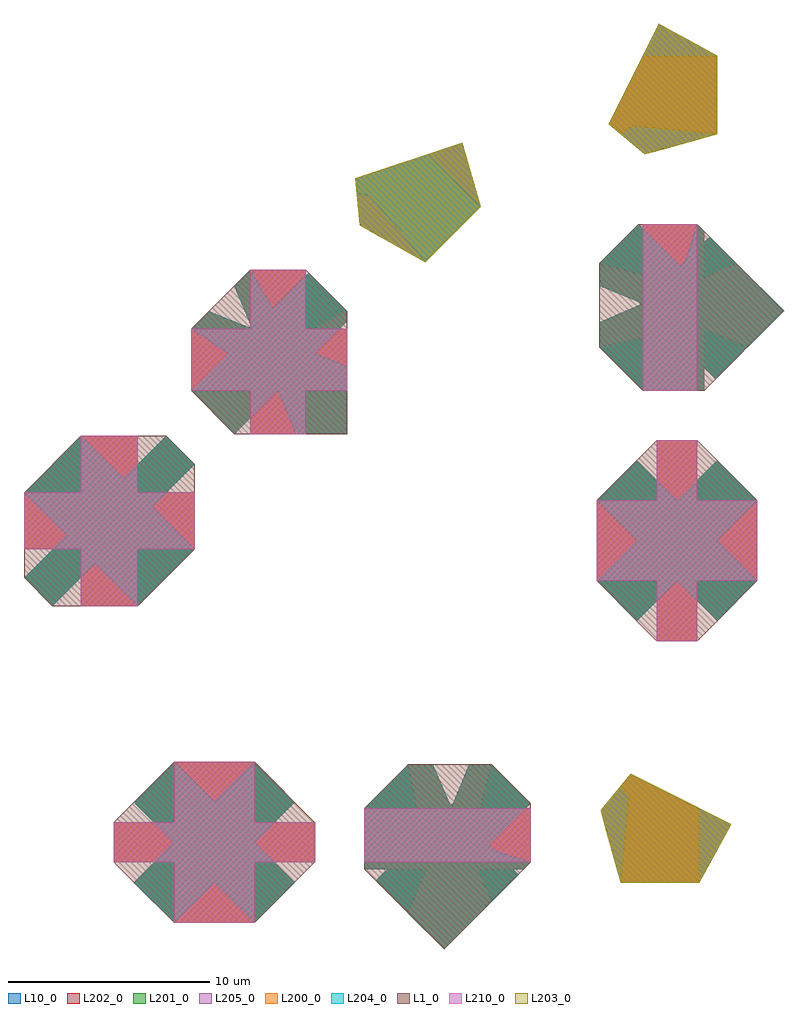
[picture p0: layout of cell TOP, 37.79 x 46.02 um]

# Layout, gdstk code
import gdstk
lib = gdstk.Library(unit=1e-6, precision=1e-09)
def R(c, l, rs):  # rectangles x0, y0, x1, y1
    for r in rs: c.add(gdstk.rectangle(r[:2], r[2:], *l))
def P(c, l, *ps):  # polygons
    for p in ps: c.add(gdstk.Polygon(p, *l))
L1_0 = (1, 0)
L10_0 = (10, 0)
L100_0 = (100, 0)
L101_0 = (101, 0)
L102_0 = (102, 0)
L103_0 = (103, 0)
L104_0 = (104, 0)
L105_0 = (105, 0)
L200_0 = (200, 0)
L201_0 = (201, 0)
L202_0 = (202, 0)
L203_0 = (203, 0)
L204_0 = (204, 0)
L205_0 = (205, 0)
L210_0 = (210, 0)

top = lib.new_cell('TOP')
P(top, L1_0, [(3,0),(0,3),(0,5),(3,8),(7,8),(10,5),(10,3),(7,0)],
  [(16.419,-1.319),(12.45,2.65),(12.45,5.7),(14.625,7.875),(18.8,7.875),(20.738,5.937),(20.738,3)],
  [(25.2,2),(24.2,5.6),(25.7,7.4),(30.7,4.9),(29.1,2)],
  [(-3.054,15.735),(-4.468,17.149),(-4.468,21.392),(-1.64,24.22),(2.603,24.22),(4.017,22.806),(4.017,18.563),(1.189,15.735)],
  [(5.997,24.291),(3.84,26.448),(3.84,29.524),(6.792,32.476),(9.533,32.476),(11.61,30.399),(11.61,24.291)],
  [(15.472,32.847),(12.22,34.685),(12.007,37.019),(17.311,38.787),(18.23,35.605)],
  [(27,14),(24,17),(24,21),(27,24),(29,24),(32,21),(32,17),(29,14)],
  [(26.3,26.45),(24.125,28.625),(24.125,32.8),(26.063,34.738),(29,34.738),(33.319,30.419),(29.35,26.45)],
  [(26.4,38.2),(24.6,39.7),(27.1,44.7),(30,43.1),(30,39.2)])
R(top, L10_0, [(2.999,-0.001,7.001,8.001), (-0.001,2.999,10.001,5.001), (12.449,2.999,20.739,5.701), (26.999,13.999,29.001,24.001), (-1.641,15.734,1.19,24.221), (23.999,16.999,32.001,21.001), (-4.469,18.562,4.018,21.393), (6.791,24.29,9.534,32.477), (3.839,26.447,11.611,29.525), (26.299,26.449,29.001,34.739)])
P(top, L10_0, [(25.199,1.999),(24.413,4.83),(27.479,6.512),(30.701,4.9)],
  [(29.806,3.278),(24.493,4.54),(24.199,5.601),(30.701,4.9)],
  [(29.1,1.999),(24.199,5.6),(25.7,7.401),(30.071,3.758)],
  [(28.519,1.999),(25.199,6.8),(25.7,7.401),(29.101,1.999)],
  [(29.1,1.999),(25.7,7.401),(30.701,4.9)],
  [(25.199,1.999),(25.7,7.401),(29.101,5.7),(29.101,1.999)],
  [(16.419,-1.32),(14.624,0.475),(17.674,7.876),(18.801,7.876)],
  [(14.95,0.149),(13.011,2.088),(18.8,7.876),(20.739,5.937)],
  [(12.449,2.649),(12.449,5.701),(20.739,3),(20.388,2.649)],
  [(17.944,0.205),(12.449,5.7),(14.625,7.876),(20.12,2.381)],
  [(16.419,-1.32),(14.624,7.876),(15.864,7.876),(18.801,1.062)],
  [(3,-0.001),(0.999,2),(7,8.001),(9.001,6)],
  [(7,-0.001),(0.999,6),(3,8.001),(9.001,2)],
  [(26,14.999),(23.999,17),(30,23.001),(32.001,21)],
  [(30,14.999),(23.999,21),(26,23.001),(32.001,17)],
  [(-3.054,15.734),(-4.469,17.149),(2.603,24.221),(4.018,22.806)],
  [(1.189,15.734),(-4.469,21.392),(-1.64,24.221),(4.018,18.563)],
  [(5.75,24.537),(3.839,26.448),(9.7,32.31),(11.611,30.399)],
  [(5.997,24.29),(3.839,26.448),(11.611,30.4),(11.611,29.903)],
  [(11.611,24.29),(3.839,29.524),(4.715,30.4),(11.611,27.659)],
  [(9.072,24.29),(5.996,31.681),(6.792,32.477),(11.611,24.29)],
  [(26.3,26.449),(24.124,28.625),(29.619,34.12),(31.795,31.944)],
  [(24.124,28.624),(24.124,29.864),(30.938,32.801),(33.32,30.419)],
  [(31.525,28.624),(24.124,31.674),(24.124,32.801),(33.32,30.419)],
  [(29.912,27.011),(24.124,32.8),(26.063,34.739),(31.851,28.95)],
  [(26.299,26.449),(29,34.739),(29.351,34.388),(29.351,26.449)],
  [(15.472,32.846),(12.915,34.292),(13.894,37.649),(17.312,38.788)],
  [(13.175,34.144),(12.219,34.685),(17.312,38.788),(17.825,37.008)],
  [(12.219,34.684),(12.006,37.02),(17.673,37.537),(18.231,35.604)],
  [(17.821,35.195),(12.077,36.24),(12.006,37.02),(18.231,35.605)],
  [(18.231,35.604),(12.006,37.02),(17.312,38.788)],
  [(15.472,32.846),(12.006,37.02),(15.615,38.222),(18.231,35.605)],
  [(26.4,38.199),(24.599,39.7),(28.242,44.071),(30.001,43.1)],
  [(25.2,39.199),(24.599,39.7),(30.001,43.101),(30.001,42.519)],
  [(24.599,39.7),(27.1,44.701),(30.001,43.1)],
  [(30.001,39.199),(24.599,39.7),(26.3,43.101),(30.001,43.101)],
  [(27.17,38.413),(25.488,41.479),(27.1,44.701),(30.001,39.199)],
  [(26.399,38.199),(27.1,44.701),(28.722,43.806),(27.46,38.493)])
R(top, L200_0, [(2.999,-0.001,7.001,8.001), (-0.001,2.999,10.001,5.001), (12.449,2.999,20.739,5.701), (26.999,13.999,29.001,24.001), (-1.641,15.734,1.19,24.221), (23.999,16.999,32.001,21.001), (-4.469,18.562,4.018,21.393), (6.791,24.29,9.534,32.477), (3.839,26.447,11.611,29.525), (26.299,26.449,29.001,34.739)])
P(top, L200_0, [(28.519,1.999),(25.199,6.8),(25.7,7.401),(29.101,1.999)],
  [(25.199,1.999),(25.7,7.401),(29.101,5.7),(29.101,1.999)],
  [(16.419,-1.32),(14.624,0.475),(17.674,7.876),(18.801,7.876)],
  [(12.449,2.649),(12.449,5.701),(20.739,3),(20.388,2.649)],
  [(16.419,-1.32),(14.624,7.876),(15.864,7.876),(18.801,1.062)],
  [(5.997,24.29),(3.839,26.448),(11.611,30.4),(11.611,29.903)],
  [(11.611,24.29),(3.839,29.524),(4.715,30.4),(11.611,27.659)],
  [(9.072,24.29),(5.996,31.681),(6.792,32.477),(11.611,24.29)],
  [(24.124,28.624),(24.124,29.864),(30.938,32.801),(33.32,30.419)],
  [(31.525,28.624),(24.124,31.674),(24.124,32.801),(33.32,30.419)],
  [(26.299,26.449),(29,34.739),(29.351,34.388),(29.351,26.449)],
  [(25.2,39.199),(24.599,39.7),(30.001,43.101),(30.001,42.519)],
  [(30.001,39.199),(24.599,39.7),(26.3,43.101),(30.001,43.101)])
P(top, L201_0, [(25.199,1.999),(24.413,4.83),(27.479,6.512),(30.701,4.9)],
  [(29.806,3.278),(24.493,4.54),(24.199,5.601),(30.701,4.9)],
  [(29.1,1.999),(24.199,5.6),(25.7,7.401),(30.071,3.758)],
  [(28.519,1.999),(25.199,6.8),(25.7,7.401),(29.101,1.999)],
  [(29.1,1.999),(25.7,7.401),(30.701,4.9)],
  [(25.199,1.999),(25.7,7.401),(29.101,5.7),(29.101,1.999)],
  [(16.419,-1.32),(14.624,0.475),(17.674,7.876),(18.801,7.876)],
  [(14.95,0.149),(13.011,2.088),(18.8,7.876),(20.739,5.937)],
  [(12.449,2.649),(12.449,5.701),(20.739,3),(20.388,2.649)],
  [(17.944,0.205),(12.449,5.7),(14.625,7.876),(20.12,2.381)],
  [(16.419,-1.32),(14.624,7.876),(15.864,7.876),(18.801,1.062)],
  [(3,-0.001),(0.999,2),(7,8.001),(9.001,6)],
  [(7,-0.001),(0.999,6),(3,8.001),(9.001,2)],
  [(26,14.999),(23.999,17),(30,23.001),(32.001,21)],
  [(30,14.999),(23.999,21),(26,23.001),(32.001,17)],
  [(-3.054,15.734),(-4.469,17.149),(2.603,24.221),(4.018,22.806)],
  [(1.189,15.734),(-4.469,21.392),(-1.64,24.221),(4.018,18.563)],
  [(5.75,24.537),(3.839,26.448),(9.7,32.31),(11.611,30.399)],
  [(5.997,24.29),(3.839,26.448),(11.611,30.4),(11.611,29.903)],
  [(11.611,24.29),(3.839,29.524),(4.715,30.4),(11.611,27.659)],
  [(9.072,24.29),(5.996,31.681),(6.792,32.477),(11.611,24.29)],
  [(26.3,26.449),(24.124,28.625),(29.619,34.12),(31.795,31.944)],
  [(24.124,28.624),(24.124,29.864),(30.938,32.801),(33.32,30.419)],
  [(31.525,28.624),(24.124,31.674),(24.124,32.801),(33.32,30.419)],
  [(29.912,27.011),(24.124,32.8),(26.063,34.739),(31.851,28.95)],
  [(26.299,26.449),(29,34.739),(29.351,34.388),(29.351,26.449)],
  [(15.472,32.846),(12.915,34.292),(13.894,37.649),(17.312,38.788)],
  [(13.175,34.144),(12.219,34.685),(17.312,38.788),(17.825,37.008)],
  [(12.219,34.684),(12.006,37.02),(17.673,37.537),(18.231,35.604)],
  [(17.821,35.195),(12.077,36.24),(12.006,37.02),(18.231,35.605)],
  [(18.231,35.604),(12.006,37.02),(17.312,38.788)],
  [(15.472,32.846),(12.006,37.02),(15.615,38.222),(18.231,35.605)],
  [(26.4,38.199),(24.599,39.7),(28.242,44.071),(30.001,43.1)],
  [(25.2,39.199),(24.599,39.7),(30.001,43.101),(30.001,42.519)],
  [(24.599,39.7),(27.1,44.701),(30.001,43.1)],
  [(30.001,39.199),(24.599,39.7),(26.3,43.101),(30.001,43.101)],
  [(27.17,38.413),(25.488,41.479),(27.1,44.701),(30.001,39.199)],
  [(26.399,38.199),(27.1,44.701),(28.722,43.806),(27.46,38.493)])
R(top, L202_0, [(2.999,-0.001,7.001,8.001), (-0.001,2.999,10.001,5.001), (12.449,2.999,20.739,5.701), (26.999,13.999,29.001,24.001), (-1.641,15.734,1.19,24.221), (23.999,16.999,32.001,21.001), (-4.469,18.562,4.018,21.393), (6.791,24.29,9.534,32.477), (3.839,26.447,11.611,29.525), (26.299,26.449,29.001,34.739)])
P(top, L202_0, [(28.519,1.999),(25.199,6.8),(25.7,7.401),(29.101,1.999)],
  [(25.199,1.999),(25.7,7.401),(29.101,5.7),(29.101,1.999)],
  [(16.419,-1.32),(14.624,0.475),(17.674,7.876),(18.801,7.876)],
  [(14.95,0.149),(13.011,2.088),(18.8,7.876),(20.739,5.937)],
  [(12.449,2.649),(12.449,5.701),(20.739,3),(20.388,2.649)],
  [(17.944,0.205),(12.449,5.7),(14.625,7.876),(20.12,2.381)],
  [(16.419,-1.32),(14.624,7.876),(15.864,7.876),(18.801,1.062)],
  [(3,-0.001),(0.999,2),(7,8.001),(9.001,6)],
  [(7,-0.001),(0.999,6),(3,8.001),(9.001,2)],
  [(26,14.999),(23.999,17),(30,23.001),(32.001,21)],
  [(30,14.999),(23.999,21),(26,23.001),(32.001,17)],
  [(-3.054,15.734),(-4.469,17.149),(2.603,24.221),(4.018,22.806)],
  [(1.189,15.734),(-4.469,21.392),(-1.64,24.221),(4.018,18.563)],
  [(5.75,24.537),(3.839,26.448),(9.7,32.31),(11.611,30.399)],
  [(5.997,24.29),(3.839,26.448),(11.611,30.4),(11.611,29.903)],
  [(11.611,24.29),(3.839,29.524),(4.715,30.4),(11.611,27.659)],
  [(9.072,24.29),(5.996,31.681),(6.792,32.477),(11.611,24.29)],
  [(26.3,26.449),(24.124,28.625),(29.619,34.12),(31.795,31.944)],
  [(24.124,28.624),(24.124,29.864),(30.938,32.801),(33.32,30.419)],
  [(31.525,28.624),(24.124,31.674),(24.124,32.801),(33.32,30.419)],
  [(29.912,27.011),(24.124,32.8),(26.063,34.739),(31.851,28.95)],
  [(26.299,26.449),(29,34.739),(29.351,34.388),(29.351,26.449)],
  [(17.821,35.195),(12.077,36.24),(12.006,37.02),(18.231,35.605)],
  [(15.472,32.846),(12.006,37.02),(15.615,38.222),(18.231,35.605)],
  [(25.2,39.199),(24.599,39.7),(30.001,43.101),(30.001,42.519)],
  [(30.001,39.199),(24.599,39.7),(26.3,43.101),(30.001,43.101)])
P(top, L203_0, [(25.199,1.999),(24.413,4.83),(27.479,6.512),(30.701,4.9)],
  [(29.806,3.278),(24.493,4.54),(24.199,5.601),(30.701,4.9)],
  [(29.1,1.999),(24.199,5.6),(25.7,7.401),(30.071,3.758)],
  [(28.519,1.999),(25.199,6.8),(25.7,7.401),(29.101,1.999)],
  [(29.1,1.999),(25.7,7.401),(30.701,4.9)],
  [(25.199,1.999),(25.7,7.401),(29.101,5.7),(29.101,1.999)],
  [(15.472,32.846),(12.915,34.292),(13.894,37.649),(17.312,38.788)],
  [(13.175,34.144),(12.219,34.685),(17.312,38.788),(17.825,37.008)],
  [(12.219,34.684),(12.006,37.02),(17.673,37.537),(18.231,35.604)],
  [(17.821,35.195),(12.077,36.24),(12.006,37.02),(18.231,35.605)],
  [(18.231,35.604),(12.006,37.02),(17.312,38.788)],
  [(15.472,32.846),(12.006,37.02),(15.615,38.222),(18.231,35.605)],
  [(26.4,38.199),(24.599,39.7),(28.242,44.071),(30.001,43.1)],
  [(25.2,39.199),(24.599,39.7),(30.001,43.101),(30.001,42.519)],
  [(24.599,39.7),(27.1,44.701),(30.001,43.1)],
  [(30.001,39.199),(24.599,39.7),(26.3,43.101),(30.001,43.101)],
  [(27.17,38.413),(25.488,41.479),(27.1,44.701),(30.001,39.199)],
  [(26.399,38.199),(27.1,44.701),(28.722,43.806),(27.46,38.493)])
P(top, L204_0, [(16.419,-1.32),(14.624,0.475),(17.674,7.876),(18.801,7.876)],
  [(14.95,0.149),(13.011,2.088),(18.8,7.876),(20.739,5.937)],
  [(12.449,2.649),(12.449,5.701),(20.739,3),(20.388,2.649)],
  [(17.944,0.205),(12.449,5.7),(14.625,7.876),(20.12,2.381)],
  [(16.419,-1.32),(14.624,7.876),(15.864,7.876),(18.801,1.062)],
  [(3,-0.001),(0.999,2),(7,8.001),(9.001,6)],
  [(7,-0.001),(0.999,6),(3,8.001),(9.001,2)],
  [(26,14.999),(23.999,17),(30,23.001),(32.001,21)],
  [(30,14.999),(23.999,21),(26,23.001),(32.001,17)],
  [(-3.054,15.734),(-4.469,17.149),(2.603,24.221),(4.018,22.806)],
  [(1.189,15.734),(-4.469,21.392),(-1.64,24.221),(4.018,18.563)],
  [(5.75,24.537),(3.839,26.448),(9.7,32.31),(11.611,30.399)],
  [(5.997,24.29),(3.839,26.448),(11.611,30.4),(11.611,29.903)],
  [(11.611,24.29),(3.839,29.524),(4.715,30.4),(11.611,27.659)],
  [(9.072,24.29),(5.996,31.681),(6.792,32.477),(11.611,24.29)],
  [(26.3,26.449),(24.124,28.625),(29.619,34.12),(31.795,31.944)],
  [(24.124,28.624),(24.124,29.864),(30.938,32.801),(33.32,30.419)],
  [(31.525,28.624),(24.124,31.674),(24.124,32.801),(33.32,30.419)],
  [(29.912,27.011),(24.124,32.8),(26.063,34.739),(31.851,28.95)],
  [(26.299,26.449),(29,34.739),(29.351,34.388),(29.351,26.449)],
  [(17.821,35.195),(12.077,36.24),(12.006,37.02),(18.231,35.605)],
  [(15.472,32.846),(12.006,37.02),(15.615,38.222),(18.231,35.605)])
R(top, L205_0, [(2.999,-0.001,7.001,8.001), (-0.001,2.999,10.001,5.001), (12.449,2.999,20.739,5.701), (26.999,13.999,29.001,24.001), (-1.641,15.734,1.19,24.221), (23.999,16.999,32.001,21.001), (-4.469,18.562,4.018,21.393), (6.791,24.29,9.534,32.477), (3.839,26.447,11.611,29.525), (26.299,26.449,29.001,34.739)])
P(top, L205_0, [(25.199,1.999),(24.413,4.83),(27.479,6.512),(30.701,4.9)],
  [(29.806,3.278),(24.493,4.54),(24.199,5.601),(30.701,4.9)],
  [(29.1,1.999),(24.199,5.6),(25.7,7.401),(30.071,3.758)],
  [(28.519,1.999),(25.199,6.8),(25.7,7.401),(29.101,1.999)],
  [(29.1,1.999),(25.7,7.401),(30.701,4.9)],
  [(25.199,1.999),(25.7,7.401),(29.101,5.7),(29.101,1.999)],
  [(16.419,-1.32),(14.624,0.475),(17.674,7.876),(18.801,7.876)],
  [(12.449,2.649),(12.449,5.701),(20.739,3),(20.388,2.649)],
  [(16.419,-1.32),(14.624,7.876),(15.864,7.876),(18.801,1.062)],
  [(5.997,24.29),(3.839,26.448),(11.611,30.4),(11.611,29.903)],
  [(11.611,24.29),(3.839,29.524),(4.715,30.4),(11.611,27.659)],
  [(9.072,24.29),(5.996,31.681),(6.792,32.477),(11.611,24.29)],
  [(24.124,28.624),(24.124,29.864),(30.938,32.801),(33.32,30.419)],
  [(31.525,28.624),(24.124,31.674),(24.124,32.801),(33.32,30.419)],
  [(26.299,26.449),(29,34.739),(29.351,34.388),(29.351,26.449)],
  [(15.472,32.846),(12.915,34.292),(13.894,37.649),(17.312,38.788)],
  [(13.175,34.144),(12.219,34.685),(17.312,38.788),(17.825,37.008)],
  [(12.219,34.684),(12.006,37.02),(17.673,37.537),(18.231,35.604)],
  [(17.821,35.195),(12.077,36.24),(12.006,37.02),(18.231,35.605)],
  [(18.231,35.604),(12.006,37.02),(17.312,38.788)],
  [(15.472,32.846),(12.006,37.02),(15.615,38.222),(18.231,35.605)],
  [(26.4,38.199),(24.599,39.7),(28.242,44.071),(30.001,43.1)],
  [(25.2,39.199),(24.599,39.7),(30.001,43.101),(30.001,42.519)],
  [(24.599,39.7),(27.1,44.701),(30.001,43.1)],
  [(30.001,39.199),(24.599,39.7),(26.3,43.101),(30.001,43.101)],
  [(27.17,38.413),(25.488,41.479),(27.1,44.701),(30.001,39.199)],
  [(26.399,38.199),(27.1,44.701),(28.722,43.806),(27.46,38.493)])
R(top, L210_0, [(2.999,-0.001,7.001,8.001), (-0.001,2.999,10.001,5.001), (12.449,2.999,20.739,5.701), (26.999,13.999,29.001,24.001), (-1.641,15.734,1.19,24.221), (23.999,16.999,32.001,21.001), (-4.469,18.562,4.018,21.393), (6.791,24.29,9.534,32.477), (3.839,26.447,11.611,29.525), (26.299,26.449,29.001,34.739)])
top.add(gdstk.FlexPath([(29.1,2),(25.2,2)], 0, ends="flush", simple_path=True, layer=100, datatype=0))  # L100_0
top.add(gdstk.FlexPath([(12.45,2.65),(12.45,5.7)], 0, ends="flush", simple_path=True, layer=100, datatype=0))  # L100_0
top.add(gdstk.FlexPath([(14.625,7.875),(18.8,7.875)], 0, ends="flush", simple_path=True, layer=100, datatype=0))  # L100_0
top.add(gdstk.FlexPath([(20.738,5.937),(20.738,3)], 0, ends="flush", simple_path=True, layer=100, datatype=0))  # L100_0
top.add(gdstk.FlexPath([(0,3),(0,5)], 0, ends="flush", simple_path=True, layer=100, datatype=0))  # L100_0
top.add(gdstk.FlexPath([(3,8),(7,8)], 0, ends="flush", simple_path=True, layer=100, datatype=0))  # L100_0
top.add(gdstk.FlexPath([(10,5),(10,3)], 0, ends="flush", simple_path=True, layer=100, datatype=0))  # L100_0
top.add(gdstk.FlexPath([(7,0),(3,0)], 0, ends="flush", simple_path=True, layer=100, datatype=0))  # L100_0
top.add(gdstk.FlexPath([(24,17),(24,21)], 0, ends="flush", simple_path=True, layer=100, datatype=0))  # L100_0
top.add(gdstk.FlexPath([(27,24),(29,24)], 0, ends="flush", simple_path=True, layer=100, datatype=0))  # L100_0
top.add(gdstk.FlexPath([(32,21),(32,17)], 0, ends="flush", simple_path=True, layer=100, datatype=0))  # L100_0
top.add(gdstk.FlexPath([(29,14),(27,14)], 0, ends="flush", simple_path=True, layer=100, datatype=0))  # L100_0
top.add(gdstk.FlexPath([(-4.468,17.149),(-4.468,21.392)], 0, ends="flush", simple_path=True, layer=100, datatype=0))  # L100_0
top.add(gdstk.FlexPath([(-1.64,24.22),(2.603,24.22)], 0, ends="flush", simple_path=True, layer=100, datatype=0))  # L100_0
top.add(gdstk.FlexPath([(4.017,22.806),(4.017,18.563)], 0, ends="flush", simple_path=True, layer=100, datatype=0))  # L100_0
top.add(gdstk.FlexPath([(1.189,15.735),(-3.054,15.735)], 0, ends="flush", simple_path=True, layer=100, datatype=0))  # L100_0
top.add(gdstk.FlexPath([(3.84,26.448),(3.84,29.524)], 0, ends="flush", simple_path=True, layer=100, datatype=0))  # L100_0
top.add(gdstk.FlexPath([(6.792,32.476),(9.533,32.476)], 0, ends="flush", simple_path=True, layer=100, datatype=0))  # L100_0
top.add(gdstk.FlexPath([(11.61,30.399),(11.61,24.291)], 0, ends="flush", simple_path=True, layer=100, datatype=0))  # L100_0
top.add(gdstk.FlexPath([(11.61,24.291),(5.997,24.291)], 0, ends="flush", simple_path=True, layer=100, datatype=0))  # L100_0
top.add(gdstk.FlexPath([(24.125,28.625),(24.125,32.8)], 0, ends="flush", simple_path=True, layer=100, datatype=0))  # L100_0
top.add(gdstk.FlexPath([(26.063,34.738),(29,34.738)], 0, ends="flush", simple_path=True, layer=100, datatype=0))  # L100_0
top.add(gdstk.FlexPath([(29.35,26.45),(26.3,26.45)], 0, ends="flush", simple_path=True, layer=100, datatype=0))  # L100_0
top.add(gdstk.FlexPath([(30,43.1),(30,39.2)], 0, ends="flush", simple_path=True, layer=100, datatype=0))  # L100_0
top.add(gdstk.FlexPath([(25.2,2),(24.2,5.6)], 0, ends="flush", simple_path=True, layer=101, datatype=0))  # L101_0
top.add(gdstk.FlexPath([(24.2,5.6),(25.7,7.4)], 0, ends="flush", simple_path=True, layer=101, datatype=0))  # L101_0
top.add(gdstk.FlexPath([(25.7,7.4),(30.7,4.9)], 0, ends="flush", simple_path=True, layer=101, datatype=0))  # L101_0
top.add(gdstk.FlexPath([(30.7,4.9),(29.1,2)], 0, ends="flush", simple_path=True, layer=101, datatype=0))  # L101_0
top.add(gdstk.FlexPath([(16.419,-1.319),(12.45,2.65)], 0, ends="flush", simple_path=True, layer=101, datatype=0))  # L101_0
top.add(gdstk.FlexPath([(12.45,5.7),(14.625,7.875)], 0, ends="flush", simple_path=True, layer=101, datatype=0))  # L101_0
top.add(gdstk.FlexPath([(18.8,7.875),(20.738,5.937)], 0, ends="flush", simple_path=True, layer=101, datatype=0))  # L101_0
top.add(gdstk.FlexPath([(20.738,3),(16.419,-1.319)], 0, ends="flush", simple_path=True, layer=101, datatype=0))  # L101_0
top.add(gdstk.FlexPath([(3,0),(0,3)], 0, ends="flush", simple_path=True, layer=101, datatype=0))  # L101_0
top.add(gdstk.FlexPath([(0,5),(3,8)], 0, ends="flush", simple_path=True, layer=101, datatype=0))  # L101_0
top.add(gdstk.FlexPath([(7,8),(10,5)], 0, ends="flush", simple_path=True, layer=101, datatype=0))  # L101_0
top.add(gdstk.FlexPath([(10,3),(7,0)], 0, ends="flush", simple_path=True, layer=101, datatype=0))  # L101_0
top.add(gdstk.FlexPath([(27,14),(24,17)], 0, ends="flush", simple_path=True, layer=101, datatype=0))  # L101_0
top.add(gdstk.FlexPath([(24,21),(27,24)], 0, ends="flush", simple_path=True, layer=101, datatype=0))  # L101_0
top.add(gdstk.FlexPath([(29,24),(32,21)], 0, ends="flush", simple_path=True, layer=101, datatype=0))  # L101_0
top.add(gdstk.FlexPath([(32,17),(29,14)], 0, ends="flush", simple_path=True, layer=101, datatype=0))  # L101_0
top.add(gdstk.FlexPath([(-3.054,15.735),(-4.468,17.149)], 0, ends="flush", simple_path=True, layer=101, datatype=0))  # L101_0
top.add(gdstk.FlexPath([(-4.468,21.392),(-1.64,24.22)], 0, ends="flush", simple_path=True, layer=101, datatype=0))  # L101_0
top.add(gdstk.FlexPath([(2.603,24.22),(4.017,22.806)], 0, ends="flush", simple_path=True, layer=101, datatype=0))  # L101_0
top.add(gdstk.FlexPath([(4.017,18.563),(1.189,15.735)], 0, ends="flush", simple_path=True, layer=101, datatype=0))  # L101_0
top.add(gdstk.FlexPath([(5.997,24.291),(3.84,26.448)], 0, ends="flush", simple_path=True, layer=101, datatype=0))  # L101_0
top.add(gdstk.FlexPath([(3.84,29.524),(6.792,32.476)], 0, ends="flush", simple_path=True, layer=101, datatype=0))  # L101_0
top.add(gdstk.FlexPath([(9.533,32.476),(11.61,30.399)], 0, ends="flush", simple_path=True, layer=101, datatype=0))  # L101_0
top.add(gdstk.FlexPath([(26.3,26.45),(24.125,28.625)], 0, ends="flush", simple_path=True, layer=101, datatype=0))  # L101_0
top.add(gdstk.FlexPath([(24.125,32.8),(26.063,34.738)], 0, ends="flush", simple_path=True, layer=101, datatype=0))  # L101_0
top.add(gdstk.FlexPath([(29,34.738),(33.319,30.419)], 0, ends="flush", simple_path=True, layer=101, datatype=0))  # L101_0
top.add(gdstk.FlexPath([(33.319,30.419),(29.35,26.45)], 0, ends="flush", simple_path=True, layer=101, datatype=0))  # L101_0
top.add(gdstk.FlexPath([(15.472,32.847),(12.22,34.685)], 0, ends="flush", simple_path=True, layer=101, datatype=0))  # L101_0
top.add(gdstk.FlexPath([(12.22,34.685),(12.007,37.019)], 0, ends="flush", simple_path=True, layer=101, datatype=0))  # L101_0
top.add(gdstk.FlexPath([(12.007,37.019),(17.311,38.787)], 0, ends="flush", simple_path=True, layer=101, datatype=0))  # L101_0
top.add(gdstk.FlexPath([(17.311,38.787),(18.23,35.605)], 0, ends="flush", simple_path=True, layer=101, datatype=0))  # L101_0
top.add(gdstk.FlexPath([(18.23,35.605),(15.472,32.847)], 0, ends="flush", simple_path=True, layer=101, datatype=0))  # L101_0
top.add(gdstk.FlexPath([(26.4,38.2),(24.6,39.7)], 0, ends="flush", simple_path=True, layer=101, datatype=0))  # L101_0
top.add(gdstk.FlexPath([(24.6,39.7),(27.1,44.7)], 0, ends="flush", simple_path=True, layer=101, datatype=0))  # L101_0
top.add(gdstk.FlexPath([(27.1,44.7),(30,43.1)], 0, ends="flush", simple_path=True, layer=101, datatype=0))  # L101_0
top.add(gdstk.FlexPath([(30,39.2),(26.4,38.2)], 0, ends="flush", simple_path=True, layer=101, datatype=0))  # L101_0
top.add(gdstk.FlexPath([(29.1,2),(25.2,2)], 0, ends="flush", simple_path=True, layer=102, datatype=0))  # L102_0
top.add(gdstk.FlexPath([(16.419,-1.319),(12.45,2.65)], 0, ends="flush", simple_path=True, layer=102, datatype=0))  # L102_0
top.add(gdstk.FlexPath([(12.45,2.65),(12.45,5.7)], 0, ends="flush", simple_path=True, layer=102, datatype=0))  # L102_0
top.add(gdstk.FlexPath([(12.45,5.7),(14.625,7.875)], 0, ends="flush", simple_path=True, layer=102, datatype=0))  # L102_0
top.add(gdstk.FlexPath([(14.625,7.875),(18.8,7.875)], 0, ends="flush", simple_path=True, layer=102, datatype=0))  # L102_0
top.add(gdstk.FlexPath([(18.8,7.875),(20.738,5.937)], 0, ends="flush", simple_path=True, layer=102, datatype=0))  # L102_0
top.add(gdstk.FlexPath([(20.738,5.937),(20.738,3)], 0, ends="flush", simple_path=True, layer=102, datatype=0))  # L102_0
top.add(gdstk.FlexPath([(20.738,3),(16.419,-1.319)], 0, ends="flush", simple_path=True, layer=102, datatype=0))  # L102_0
top.add(gdstk.FlexPath([(3,0),(0,3)], 0, ends="flush", simple_path=True, layer=102, datatype=0))  # L102_0
top.add(gdstk.FlexPath([(0,3),(0,5)], 0, ends="flush", simple_path=True, layer=102, datatype=0))  # L102_0
top.add(gdstk.FlexPath([(0,5),(3,8)], 0, ends="flush", simple_path=True, layer=102, datatype=0))  # L102_0
top.add(gdstk.FlexPath([(3,8),(7,8)], 0, ends="flush", simple_path=True, layer=102, datatype=0))  # L102_0
top.add(gdstk.FlexPath([(7,8),(10,5)], 0, ends="flush", simple_path=True, layer=102, datatype=0))  # L102_0
top.add(gdstk.FlexPath([(10,5),(10,3)], 0, ends="flush", simple_path=True, layer=102, datatype=0))  # L102_0
top.add(gdstk.FlexPath([(10,3),(7,0)], 0, ends="flush", simple_path=True, layer=102, datatype=0))  # L102_0
top.add(gdstk.FlexPath([(7,0),(3,0)], 0, ends="flush", simple_path=True, layer=102, datatype=0))  # L102_0
top.add(gdstk.FlexPath([(27,14),(24,17)], 0, ends="flush", simple_path=True, layer=102, datatype=0))  # L102_0
top.add(gdstk.FlexPath([(24,17),(24,21)], 0, ends="flush", simple_path=True, layer=102, datatype=0))  # L102_0
top.add(gdstk.FlexPath([(24,21),(27,24)], 0, ends="flush", simple_path=True, layer=102, datatype=0))  # L102_0
top.add(gdstk.FlexPath([(27,24),(29,24)], 0, ends="flush", simple_path=True, layer=102, datatype=0))  # L102_0
top.add(gdstk.FlexPath([(29,24),(32,21)], 0, ends="flush", simple_path=True, layer=102, datatype=0))  # L102_0
top.add(gdstk.FlexPath([(32,21),(32,17)], 0, ends="flush", simple_path=True, layer=102, datatype=0))  # L102_0
top.add(gdstk.FlexPath([(32,17),(29,14)], 0, ends="flush", simple_path=True, layer=102, datatype=0))  # L102_0
top.add(gdstk.FlexPath([(29,14),(27,14)], 0, ends="flush", simple_path=True, layer=102, datatype=0))  # L102_0
top.add(gdstk.FlexPath([(-3.054,15.735),(-4.468,17.149)], 0, ends="flush", simple_path=True, layer=102, datatype=0))  # L102_0
top.add(gdstk.FlexPath([(-4.468,17.149),(-4.468,21.392)], 0, ends="flush", simple_path=True, layer=102, datatype=0))  # L102_0
top.add(gdstk.FlexPath([(-4.468,21.392),(-1.64,24.22)], 0, ends="flush", simple_path=True, layer=102, datatype=0))  # L102_0
top.add(gdstk.FlexPath([(-1.64,24.22),(2.603,24.22)], 0, ends="flush", simple_path=True, layer=102, datatype=0))  # L102_0
top.add(gdstk.FlexPath([(2.603,24.22),(4.017,22.806)], 0, ends="flush", simple_path=True, layer=102, datatype=0))  # L102_0
top.add(gdstk.FlexPath([(4.017,22.806),(4.017,18.563)], 0, ends="flush", simple_path=True, layer=102, datatype=0))  # L102_0
top.add(gdstk.FlexPath([(4.017,18.563),(1.189,15.735)], 0, ends="flush", simple_path=True, layer=102, datatype=0))  # L102_0
top.add(gdstk.FlexPath([(1.189,15.735),(-3.054,15.735)], 0, ends="flush", simple_path=True, layer=102, datatype=0))  # L102_0
top.add(gdstk.FlexPath([(5.997,24.291),(3.84,26.448)], 0, ends="flush", simple_path=True, layer=102, datatype=0))  # L102_0
top.add(gdstk.FlexPath([(3.84,26.448),(3.84,29.524)], 0, ends="flush", simple_path=True, layer=102, datatype=0))  # L102_0
top.add(gdstk.FlexPath([(3.84,29.524),(6.792,32.476)], 0, ends="flush", simple_path=True, layer=102, datatype=0))  # L102_0
top.add(gdstk.FlexPath([(6.792,32.476),(9.533,32.476)], 0, ends="flush", simple_path=True, layer=102, datatype=0))  # L102_0
top.add(gdstk.FlexPath([(9.533,32.476),(11.61,30.399)], 0, ends="flush", simple_path=True, layer=102, datatype=0))  # L102_0
top.add(gdstk.FlexPath([(11.61,30.399),(11.61,24.291)], 0, ends="flush", simple_path=True, layer=102, datatype=0))  # L102_0
top.add(gdstk.FlexPath([(11.61,24.291),(5.997,24.291)], 0, ends="flush", simple_path=True, layer=102, datatype=0))  # L102_0
top.add(gdstk.FlexPath([(26.3,26.45),(24.125,28.625)], 0, ends="flush", simple_path=True, layer=102, datatype=0))  # L102_0
top.add(gdstk.FlexPath([(24.125,28.625),(24.125,32.8)], 0, ends="flush", simple_path=True, layer=102, datatype=0))  # L102_0
top.add(gdstk.FlexPath([(24.125,32.8),(26.063,34.738)], 0, ends="flush", simple_path=True, layer=102, datatype=0))  # L102_0
top.add(gdstk.FlexPath([(26.063,34.738),(29,34.738)], 0, ends="flush", simple_path=True, layer=102, datatype=0))  # L102_0
top.add(gdstk.FlexPath([(29,34.738),(33.319,30.419)], 0, ends="flush", simple_path=True, layer=102, datatype=0))  # L102_0
top.add(gdstk.FlexPath([(33.319,30.419),(29.35,26.45)], 0, ends="flush", simple_path=True, layer=102, datatype=0))  # L102_0
top.add(gdstk.FlexPath([(29.35,26.45),(26.3,26.45)], 0, ends="flush", simple_path=True, layer=102, datatype=0))  # L102_0
top.add(gdstk.FlexPath([(18.23,35.605),(15.472,32.847)], 0, ends="flush", simple_path=True, layer=102, datatype=0))  # L102_0
top.add(gdstk.FlexPath([(30,43.1),(30,39.2)], 0, ends="flush", simple_path=True, layer=102, datatype=0))  # L102_0
top.add(gdstk.FlexPath([(25.2,2),(24.2,5.6)], 0, ends="flush", simple_path=True, layer=103, datatype=0))  # L103_0
top.add(gdstk.FlexPath([(24.2,5.6),(25.7,7.4)], 0, ends="flush", simple_path=True, layer=103, datatype=0))  # L103_0
top.add(gdstk.FlexPath([(25.7,7.4),(30.7,4.9)], 0, ends="flush", simple_path=True, layer=103, datatype=0))  # L103_0
top.add(gdstk.FlexPath([(30.7,4.9),(29.1,2)], 0, ends="flush", simple_path=True, layer=103, datatype=0))  # L103_0
top.add(gdstk.FlexPath([(15.472,32.847),(12.22,34.685)], 0, ends="flush", simple_path=True, layer=103, datatype=0))  # L103_0
top.add(gdstk.FlexPath([(12.22,34.685),(12.007,37.019)], 0, ends="flush", simple_path=True, layer=103, datatype=0))  # L103_0
top.add(gdstk.FlexPath([(12.007,37.019),(17.311,38.787)], 0, ends="flush", simple_path=True, layer=103, datatype=0))  # L103_0
top.add(gdstk.FlexPath([(17.311,38.787),(18.23,35.605)], 0, ends="flush", simple_path=True, layer=103, datatype=0))  # L103_0
top.add(gdstk.FlexPath([(26.4,38.2),(24.6,39.7)], 0, ends="flush", simple_path=True, layer=103, datatype=0))  # L103_0
top.add(gdstk.FlexPath([(24.6,39.7),(27.1,44.7)], 0, ends="flush", simple_path=True, layer=103, datatype=0))  # L103_0
top.add(gdstk.FlexPath([(27.1,44.7),(30,43.1)], 0, ends="flush", simple_path=True, layer=103, datatype=0))  # L103_0
top.add(gdstk.FlexPath([(30,39.2),(26.4,38.2)], 0, ends="flush", simple_path=True, layer=103, datatype=0))  # L103_0
top.add(gdstk.FlexPath([(16.419,-1.319),(12.45,2.65)], 0, ends="flush", simple_path=True, layer=104, datatype=0))  # L104_0
top.add(gdstk.FlexPath([(12.45,5.7),(14.625,7.875)], 0, ends="flush", simple_path=True, layer=104, datatype=0))  # L104_0
top.add(gdstk.FlexPath([(18.8,7.875),(20.738,5.937)], 0, ends="flush", simple_path=True, layer=104, datatype=0))  # L104_0
top.add(gdstk.FlexPath([(20.738,3),(16.419,-1.319)], 0, ends="flush", simple_path=True, layer=104, datatype=0))  # L104_0
top.add(gdstk.FlexPath([(3,0),(0,3)], 0, ends="flush", simple_path=True, layer=104, datatype=0))  # L104_0
top.add(gdstk.FlexPath([(0,5),(3,8)], 0, ends="flush", simple_path=True, layer=104, datatype=0))  # L104_0
top.add(gdstk.FlexPath([(7,8),(10,5)], 0, ends="flush", simple_path=True, layer=104, datatype=0))  # L104_0
top.add(gdstk.FlexPath([(10,3),(7,0)], 0, ends="flush", simple_path=True, layer=104, datatype=0))  # L104_0
top.add(gdstk.FlexPath([(27,14),(24,17)], 0, ends="flush", simple_path=True, layer=104, datatype=0))  # L104_0
top.add(gdstk.FlexPath([(24,21),(27,24)], 0, ends="flush", simple_path=True, layer=104, datatype=0))  # L104_0
top.add(gdstk.FlexPath([(29,24),(32,21)], 0, ends="flush", simple_path=True, layer=104, datatype=0))  # L104_0
top.add(gdstk.FlexPath([(32,17),(29,14)], 0, ends="flush", simple_path=True, layer=104, datatype=0))  # L104_0
top.add(gdstk.FlexPath([(-3.054,15.735),(-4.468,17.149)], 0, ends="flush", simple_path=True, layer=104, datatype=0))  # L104_0
top.add(gdstk.FlexPath([(-4.468,21.392),(-1.64,24.22)], 0, ends="flush", simple_path=True, layer=104, datatype=0))  # L104_0
top.add(gdstk.FlexPath([(2.603,24.22),(4.017,22.806)], 0, ends="flush", simple_path=True, layer=104, datatype=0))  # L104_0
top.add(gdstk.FlexPath([(4.017,18.563),(1.189,15.735)], 0, ends="flush", simple_path=True, layer=104, datatype=0))  # L104_0
top.add(gdstk.FlexPath([(5.997,24.291),(3.84,26.448)], 0, ends="flush", simple_path=True, layer=104, datatype=0))  # L104_0
top.add(gdstk.FlexPath([(3.84,29.524),(6.792,32.476)], 0, ends="flush", simple_path=True, layer=104, datatype=0))  # L104_0
top.add(gdstk.FlexPath([(9.533,32.476),(11.61,30.399)], 0, ends="flush", simple_path=True, layer=104, datatype=0))  # L104_0
top.add(gdstk.FlexPath([(26.3,26.45),(24.125,28.625)], 0, ends="flush", simple_path=True, layer=104, datatype=0))  # L104_0
top.add(gdstk.FlexPath([(24.125,32.8),(26.063,34.738)], 0, ends="flush", simple_path=True, layer=104, datatype=0))  # L104_0
top.add(gdstk.FlexPath([(29,34.738),(33.319,30.419)], 0, ends="flush", simple_path=True, layer=104, datatype=0))  # L104_0
top.add(gdstk.FlexPath([(33.319,30.419),(29.35,26.45)], 0, ends="flush", simple_path=True, layer=104, datatype=0))  # L104_0
top.add(gdstk.FlexPath([(18.23,35.605),(15.472,32.847)], 0, ends="flush", simple_path=True, layer=104, datatype=0))  # L104_0
top.add(gdstk.FlexPath([(25.2,2),(24.2,5.6)], 0, ends="flush", simple_path=True, layer=105, datatype=0))  # L105_0
top.add(gdstk.FlexPath([(24.2,5.6),(25.7,7.4)], 0, ends="flush", simple_path=True, layer=105, datatype=0))  # L105_0
top.add(gdstk.FlexPath([(25.7,7.4),(30.7,4.9)], 0, ends="flush", simple_path=True, layer=105, datatype=0))  # L105_0
top.add(gdstk.FlexPath([(30.7,4.9),(29.1,2)], 0, ends="flush", simple_path=True, layer=105, datatype=0))  # L105_0
top.add(gdstk.FlexPath([(29.1,2),(25.2,2)], 0, ends="flush", simple_path=True, layer=105, datatype=0))  # L105_0
top.add(gdstk.FlexPath([(12.45,2.65),(12.45,5.7)], 0, ends="flush", simple_path=True, layer=105, datatype=0))  # L105_0
top.add(gdstk.FlexPath([(14.625,7.875),(18.8,7.875)], 0, ends="flush", simple_path=True, layer=105, datatype=0))  # L105_0
top.add(gdstk.FlexPath([(20.738,5.937),(20.738,3)], 0, ends="flush", simple_path=True, layer=105, datatype=0))  # L105_0
top.add(gdstk.FlexPath([(0,3),(0,5)], 0, ends="flush", simple_path=True, layer=105, datatype=0))  # L105_0
top.add(gdstk.FlexPath([(3,8),(7,8)], 0, ends="flush", simple_path=True, layer=105, datatype=0))  # L105_0
top.add(gdstk.FlexPath([(10,5),(10,3)], 0, ends="flush", simple_path=True, layer=105, datatype=0))  # L105_0
top.add(gdstk.FlexPath([(7,0),(3,0)], 0, ends="flush", simple_path=True, layer=105, datatype=0))  # L105_0
top.add(gdstk.FlexPath([(24,17),(24,21)], 0, ends="flush", simple_path=True, layer=105, datatype=0))  # L105_0
top.add(gdstk.FlexPath([(27,24),(29,24)], 0, ends="flush", simple_path=True, layer=105, datatype=0))  # L105_0
top.add(gdstk.FlexPath([(32,21),(32,17)], 0, ends="flush", simple_path=True, layer=105, datatype=0))  # L105_0
top.add(gdstk.FlexPath([(29,14),(27,14)], 0, ends="flush", simple_path=True, layer=105, datatype=0))  # L105_0
top.add(gdstk.FlexPath([(-4.468,17.149),(-4.468,21.392)], 0, ends="flush", simple_path=True, layer=105, datatype=0))  # L105_0
top.add(gdstk.FlexPath([(-1.64,24.22),(2.603,24.22)], 0, ends="flush", simple_path=True, layer=105, datatype=0))  # L105_0
top.add(gdstk.FlexPath([(4.017,22.806),(4.017,18.563)], 0, ends="flush", simple_path=True, layer=105, datatype=0))  # L105_0
top.add(gdstk.FlexPath([(1.189,15.735),(-3.054,15.735)], 0, ends="flush", simple_path=True, layer=105, datatype=0))  # L105_0
top.add(gdstk.FlexPath([(3.84,26.448),(3.84,29.524)], 0, ends="flush", simple_path=True, layer=105, datatype=0))  # L105_0
top.add(gdstk.FlexPath([(6.792,32.476),(9.533,32.476)], 0, ends="flush", simple_path=True, layer=105, datatype=0))  # L105_0
top.add(gdstk.FlexPath([(11.61,30.399),(11.61,24.291)], 0, ends="flush", simple_path=True, layer=105, datatype=0))  # L105_0
top.add(gdstk.FlexPath([(11.61,24.291),(5.997,24.291)], 0, ends="flush", simple_path=True, layer=105, datatype=0))  # L105_0
top.add(gdstk.FlexPath([(24.125,28.625),(24.125,32.8)], 0, ends="flush", simple_path=True, layer=105, datatype=0))  # L105_0
top.add(gdstk.FlexPath([(26.063,34.738),(29,34.738)], 0, ends="flush", simple_path=True, layer=105, datatype=0))  # L105_0
top.add(gdstk.FlexPath([(29.35,26.45),(26.3,26.45)], 0, ends="flush", simple_path=True, layer=105, datatype=0))  # L105_0
top.add(gdstk.FlexPath([(15.472,32.847),(12.22,34.685)], 0, ends="flush", simple_path=True, layer=105, datatype=0))  # L105_0
top.add(gdstk.FlexPath([(12.22,34.685),(12.007,37.019)], 0, ends="flush", simple_path=True, layer=105, datatype=0))  # L105_0
top.add(gdstk.FlexPath([(12.007,37.019),(17.311,38.787)], 0, ends="flush", simple_path=True, layer=105, datatype=0))  # L105_0
top.add(gdstk.FlexPath([(17.311,38.787),(18.23,35.605)], 0, ends="flush", simple_path=True, layer=105, datatype=0))  # L105_0
top.add(gdstk.FlexPath([(26.4,38.2),(24.6,39.7)], 0, ends="flush", simple_path=True, layer=105, datatype=0))  # L105_0
top.add(gdstk.FlexPath([(24.6,39.7),(27.1,44.7)], 0, ends="flush", simple_path=True, layer=105, datatype=0))  # L105_0
top.add(gdstk.FlexPath([(27.1,44.7),(30,43.1)], 0, ends="flush", simple_path=True, layer=105, datatype=0))  # L105_0
top.add(gdstk.FlexPath([(30,43.1),(30,39.2)], 0, ends="flush", simple_path=True, layer=105, datatype=0))  # L105_0
top.add(gdstk.FlexPath([(30,39.2),(26.4,38.2)], 0, ends="flush", simple_path=True, layer=105, datatype=0))  # L105_0

lib.write_gds('TOP.gds')
